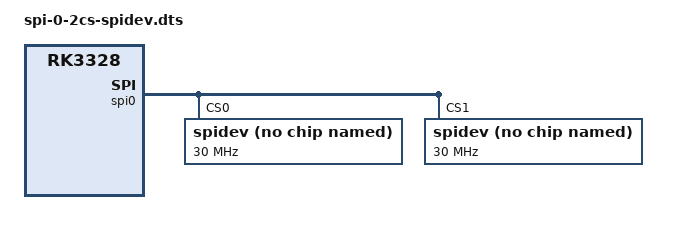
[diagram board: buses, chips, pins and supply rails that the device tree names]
// SPDX-License-Identifier: (GPL-2.0-or-later OR MIT)
/*
 * Copyright (c) 2024 Da Xue
 * Author: Da Xue <da@libre.computer>
 */
/*
 * Summary: Spidev interfaces for spi-0-2cs
 *
 * Requires: spi-0-2cs
 *
 * Notes:
 * Requires spi-0-2cs overlay
 */
/dts-v1/;
/plugin/;

/ {
	compatible = "libre-computer,roc-rk3328-cc",
		"libretech,roc-rk3328-cc",
		"libre-computer,roc-rk3328-cc-v2",
		"libretech,roc-rk3328-cc-v2",
		"firefly,roc-rk3328-cc",
		"rockchip,rk3328";

	fragment@0 {
		target = <&spi0>;
		
		__overlay__ {
			spidev@0 {
				compatible = "rohm,dh2228fv";
				reg = <0>;
				spi-max-frequency = <30000000>;
			};
			spidev@1 {
				compatible = "rohm,dh2228fv";
				reg = <1>;
				spi-max-frequency = <30000000>;
			};
		};
	};
};
